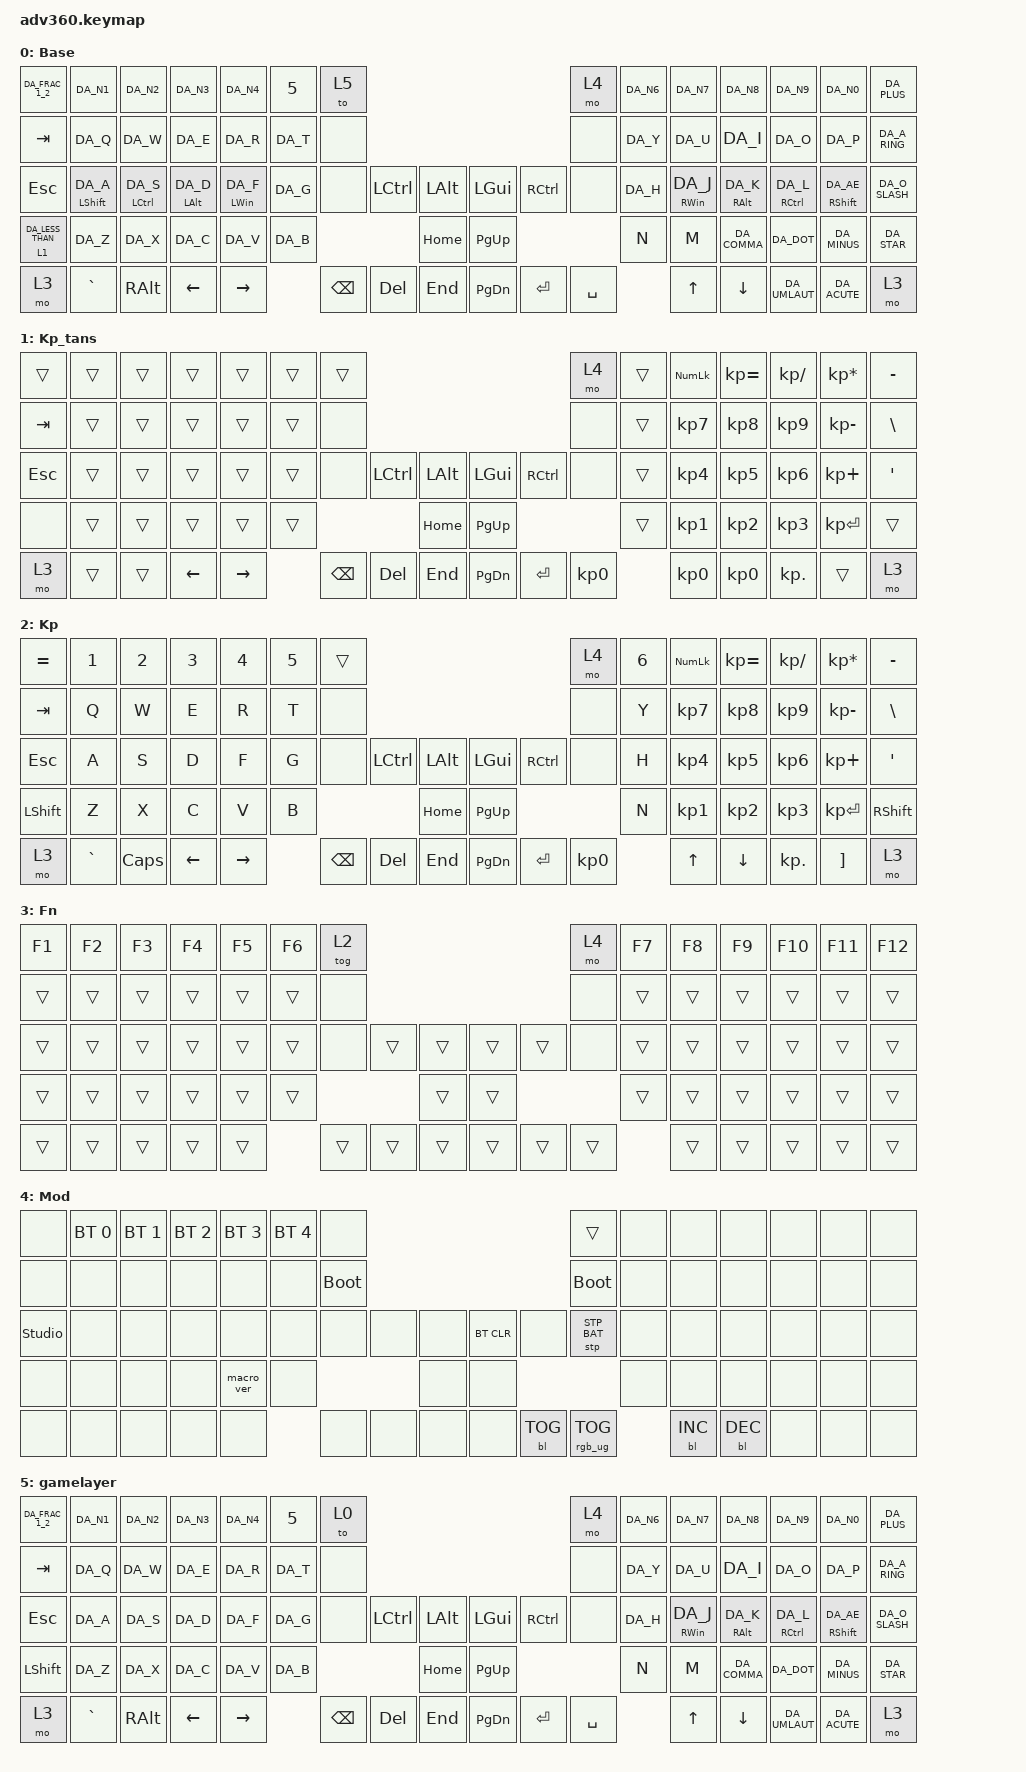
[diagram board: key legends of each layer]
#include "keys_da.h"
#include <dt-bindings/zmk/stp.h>
#include <behaviors.dtsi>
#include <dt-bindings/zmk/backlight.h>
#include <dt-bindings/zmk/bt.h>
#include <dt-bindings/zmk/keys.h>
#include <dt-bindings/zmk/rgb.h>

/ {
    behaviors {
        #include "macros.dtsi"
      #include "version.dtsi"

        hm: homerow_mods {
            compatible = "zmk,behavior-hold-tap";
            label = "HOMEROW_MODS";
            #binding-cells = <2>;
            tapping-term-ms = <200>;
            quick_tap_ms = <175>;
            flavor = "tap-preferred";
            bindings = <&kp>, <&kp>;
        };

        hm4: hm4 {
            compatible = "zmk,behavior-hold-tap";
            label = "HOMEROW_MODS400";
            #binding-cells = <2>;
            tapping-term-ms = <400>;
            quick_tap_ms = <175>;
            flavor = "tap-preferred";
            bindings = <&kp>, <&kp>;
        };
    };

    keymap {
        compatible = "zmk,keymap";

        default_layer {
            display-name = "Base";
            bindings = <
&kp DA_FRAC_1_2     &kp DA_N1             &kp DA_N2               &kp DA_N3           &kp DA_N4           &kp N5    &to 5                                                    &mo 4      &kp DA_N6  &kp DA_N7            &kp DA_N8            &kp DA_N9                &kp DA_N0               &kp DA_PLUS
&kp TAB             &kp DA_Q              &kp DA_W                &kp DA_E            &kp DA_R            &kp DA_T  &none                                                    &none      &kp DA_Y   &kp DA_U             &kp DA_I             &kp DA_O                 &kp DA_P                &kp DA_A_RING
&kp ESC             &hm4 LEFT_SHIFT DA_A  &hm4 LEFT_CONTROL DA_S  &hm4 LEFT_ALT DA_D  &hm4 LEFT_WIN DA_F  &kp DA_G  &none     &kp LCTRL  &kp LALT      &kp LGUI   &kp RCTRL  &none      &kp DA_H   &hm4 RIGHT_WIN DA_J  &hm4 RIGHT_ALT DA_K  &hm4 RIGHT_CONTROL DA_L  &hm4 RIGHT_SHIFT DA_AE  &kp DA_O_SLASH
&lt 1 DA_LESS_THAN  &kp DA_Z              &kp DA_X                &kp DA_C            &kp DA_V            &kp DA_B                       &kp HOME      &kp PG_UP                        &kp N      &kp M                &kp DA_COMMA         &kp DA_DOT               &kp DA_MINUS            &kp DA_STAR
&mo 3               &kp GRAVE             &kp RALT                &kp LEFT            &kp RIGHT                     &kp BSPC  &kp DEL    &kp END       &kp PG_DN  &kp ENTER  &kp SPACE             &kp UP               &kp DOWN             &kp DA_UMLAUT            &kp DA_ACUTE            &mo 3
            >;
        };

        keypad_right {
            display-name = "Kp_tans";
            bindings = <
&trans   &trans  &trans  &trans    &trans     &trans  &trans                                                   &mo 4      &trans  &kp KP_NUM  &kp KP_EQUAL  &kp KP_DIVIDE  &kp KP_MULTIPLY  &kp MINUS
&kp TAB  &trans  &trans  &trans    &trans     &trans  &none                                                    &none      &trans  &kp KP_N7   &kp KP_N8     &kp KP_N9      &kp KP_MINUS     &kp BSLH
&kp ESC  &trans  &trans  &trans    &trans     &trans  &none     &kp LCTRL  &kp LALT      &kp LGUI   &kp RCTRL  &none      &trans  &kp KP_N4   &kp KP_N5     &kp KP_N6      &kp KP_PLUS      &kp SQT
&none    &trans  &trans  &trans    &trans     &trans                       &kp HOME      &kp PG_UP                        &trans  &kp KP_N1   &kp KP_N2     &kp KP_N3      &kp KP_ENTER     &trans
&mo 3    &trans  &trans  &kp LEFT  &kp RIGHT          &kp BSPC  &kp DEL    &kp END       &kp PG_DN  &kp ENTER  &kp KP_N0          &kp KP_N0   &kp KP_N0     &kp KP_DOT     &trans           &mo 3
            >;
        };

        keypad {
            display-name = "Kp";
            bindings = <
&kp EQUAL  &kp N1     &kp N2    &kp N3    &kp N4     &kp N5  &trans                                                   &mo 4      &kp N6  &kp KP_NUM  &kp KP_EQUAL  &kp KP_DIVIDE  &kp KP_MULTIPLY  &kp MINUS
&kp TAB    &kp Q      &kp W     &kp E     &kp R      &kp T   &none                                                    &none      &kp Y   &kp KP_N7   &kp KP_N8     &kp KP_N9      &kp KP_MINUS     &kp BSLH
&kp ESC    &kp A      &kp S     &kp D     &kp F      &kp G   &none     &kp LCTRL  &kp LALT      &kp LGUI   &kp RCTRL  &none      &kp H   &kp KP_N4   &kp KP_N5     &kp KP_N6      &kp KP_PLUS      &kp SQT
&kp LSHFT  &kp Z      &kp X     &kp C     &kp V      &kp B                        &kp HOME      &kp PG_UP                        &kp N   &kp KP_N1   &kp KP_N2     &kp KP_N3      &kp KP_ENTER     &kp RSHFT
&mo 3      &kp GRAVE  &kp CAPS  &kp LEFT  &kp RIGHT          &kp BSPC  &kp DEL    &kp END       &kp PG_DN  &kp ENTER  &kp KP_N0          &kp UP      &kp DOWN      &kp KP_DOT     &kp RBKT         &mo 3
            >;
        };

        fn {
            display-name = "Fn";
            bindings = <
&kp F1  &kp F2  &kp F3  &kp F4  &kp F5  &kp F6  &tog 2                                      &mo 4   &kp F7  &kp F8  &kp F9  &kp F10  &kp F11  &kp F12
&trans  &trans  &trans  &trans  &trans  &trans  &none                                       &none   &trans  &trans  &trans  &trans   &trans   &trans
&trans  &trans  &trans  &trans  &trans  &trans  &none   &trans  &trans      &trans  &trans  &none   &trans  &trans  &trans  &trans   &trans   &trans
&trans  &trans  &trans  &trans  &trans  &trans                  &trans      &trans                  &trans  &trans  &trans  &trans   &trans   &trans
&trans  &trans  &trans  &trans  &trans          &trans  &trans  &trans      &trans  &trans  &trans          &trans  &trans  &trans   &trans   &trans
            >;
        };

        mod {
            display-name = "Mod";
            bindings = <
&none           &bt BT_SEL 0  &bt BT_SEL 1  &bt BT_SEL 2  &bt BT_SEL 3  &bt BT_SEL 4  &none                                                  &trans           &none  &none       &none       &none  &none  &none
&none           &none         &none         &none         &none         &none         &bootloader                                            &bootloader      &none  &none       &none       &none  &none  &none
&studio_unlock  &none         &none         &none         &none         &none         &none        &none  &none      &bt BT_CLR  &none       &stp STP_BAT     &none  &none       &none       &none  &none  &none
&none           &none         &none         &none         &macro_ver    &none                             &none      &none                                    &none  &none       &none       &none  &none  &none
&none           &none         &none         &none         &none                       &none        &none  &none      &none       &bl BL_TOG  &rgb_ug RGB_TOG         &bl BL_INC  &bl BL_DEC  &none  &none  &none
            >;
        };

        game {
            display-name = "gamelayer";
            bindings = <
&kp DA_FRAC_1_2  &kp DA_N1  &kp DA_N2  &kp DA_N3  &kp DA_N4  &kp N5    &to 0                                                    &mo 4      &kp DA_N6  &kp DA_N7            &kp DA_N8            &kp DA_N9                &kp DA_N0               &kp DA_PLUS
&kp TAB          &kp DA_Q   &kp DA_W   &kp DA_E   &kp DA_R   &kp DA_T  &none                                                    &none      &kp DA_Y   &kp DA_U             &kp DA_I             &kp DA_O                 &kp DA_P                &kp DA_A_RING
&kp ESC          &kp DA_A   &kp DA_S   &kp DA_D   &kp DA_F   &kp DA_G  &none     &kp LCTRL  &kp LALT      &kp LGUI   &kp RCTRL  &none      &kp DA_H   &hm4 RIGHT_WIN DA_J  &hm4 RIGHT_ALT DA_K  &hm4 RIGHT_CONTROL DA_L  &hm4 RIGHT_SHIFT DA_AE  &kp DA_O_SLASH
&kp LEFT_SHIFT   &kp DA_Z   &kp DA_X   &kp DA_C   &kp DA_V   &kp DA_B                       &kp HOME      &kp PG_UP                        &kp N      &kp M                &kp DA_COMMA         &kp DA_DOT               &kp DA_MINUS            &kp DA_STAR
&mo 3            &kp GRAVE  &kp RALT   &kp LEFT   &kp RIGHT            &kp BSPC  &kp DEL    &kp END       &kp PG_DN  &kp ENTER  &kp SPACE             &kp UP               &kp DOWN             &kp DA_UMLAUT            &kp DA_ACUTE            &mo 3
            >;
        };
    };
};
